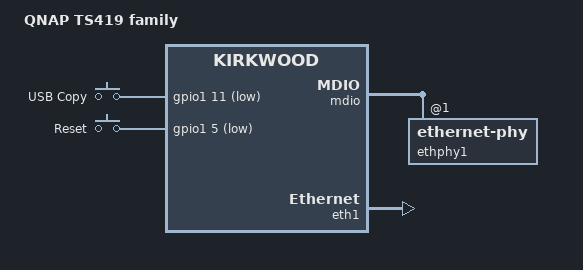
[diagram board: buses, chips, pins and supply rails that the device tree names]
// SPDX-License-Identifier: GPL-2.0+
/*
 * Device Tree include file for QNAP TS41X
 *
 * Copyright (C) 2013, Andrew Lunn <andrew@lunn.ch>
 */

/ {
	model = "QNAP TS419 family";
	compatible = "qnap,ts419", "marvell,kirkwood";

	ocp@f1000000 {
		pinctrl: pin-controller@10000 {
			pinctrl-names = "default";

			pmx_USB_copy_button: pmx-USB-copy-button {
				marvell,pins = "mpp43";
				marvell,function = "gpio";
			};
			pmx_reset_button: pmx-reset-button {
				marvell,pins = "mpp37";
				marvell,function = "gpio";
			};
			/*
			 * JP1 indicates if an LCD module is installed
			 * on the serial port (0), or if the port is used
			 * as a console (1).
			 */
			pmx_jumper_jp1: pmx-jumper_jp1 {
				marvell,pins = "mpp45";
				marvell,function = "gpio";
			};

		};
	};

	gpio_keys {
		compatible = "gpio-keys";
		pinctrl-0 = <&pmx_reset_button &pmx_USB_copy_button>;
		pinctrl-names = "default";

		button-copy {
			label = "USB Copy";
			linux,code = <KEY_COPY>;
			gpios = <&gpio1 11 GPIO_ACTIVE_LOW>;
		};
		button-reset {
			label = "Reset";
			linux,code = <KEY_RESTART>;
			gpios = <&gpio1 5 GPIO_ACTIVE_LOW>;
		};
	};
};

&mdio {
	status = "okay";

	ethphy1: ethernet-phy@1 {
		device_type = "ethernet-phy";
                /* overwrite reg property in board file */
	};
};

&eth1 {
	status = "okay";
	ethernet1-port@0 {
		phy-handle = <&ethphy1>;
	};
};
